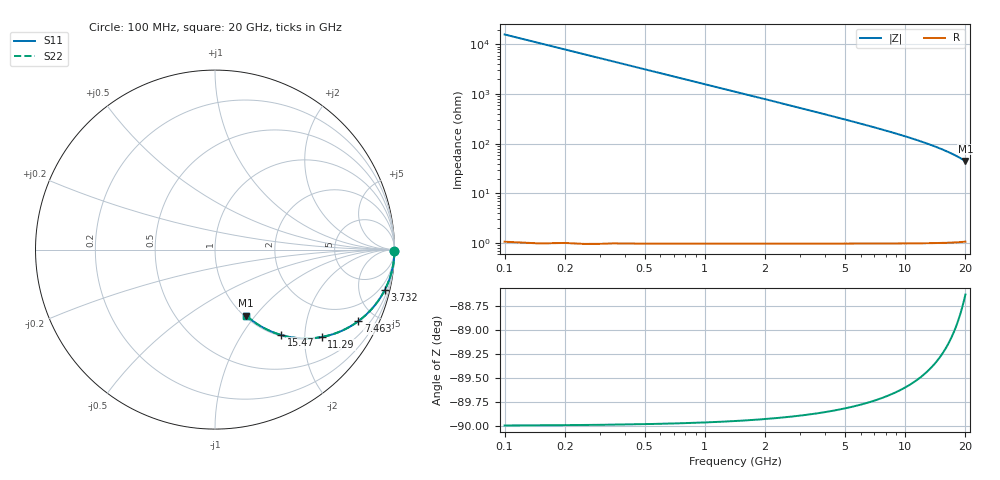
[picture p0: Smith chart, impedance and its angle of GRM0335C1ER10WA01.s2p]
!Murata Part Number: GRM0335C1ER10WA01
!These Parameters are Measured in Series Mode Connection
!Data Generated on Mar 30, 2021
!  o--ll--o
!Port1  Port2
!  o------o
!Operation Temp=25[degC], DC Bias Voltage=0[V]
!Freq. Start=100[MHz] Stop=20[GHz] 401[Steps]
# Hz S RI R 50
!Freq.(Hz) S11(Real) S11(Imag) S21(Real) S21(Imag) S12(Real) S12(Imag) S22(Real) S22(Imag)
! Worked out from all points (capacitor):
!   401 points, 100 MHz to 20 GHz, reference 50 ohm
!   read as one part in series: C = 100 fF near 199.5 MHz
!   lowest |Z| = 45 ohm at 20 GHz (marker M1)
!   S11 on the Smith chart (normalised r, x): 100 MHz: open; 3.732 GHz: 1.02, -8.40; 7.463 GHz: 1.02, -4.01; 11.29 GHz: 1.02, -2.43; 15.47 GHz: 1.02, -1.52; 20 GHz: 1.02, -0.90
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1e8  1 -0.00628  3.99e-05 0.00628  3.99e-05 0.00628  1 -0.00628
1.4975e8  0.9999 -0.00941  8.94e-05 0.00941  8.94e-05 0.00941  0.9999 -0.00941
2.4925e8  0.9998 -0.0157  0.000248 0.0157  0.000248 0.0157  0.9998 -0.0157
2.99e8  0.9996 -0.0188  0.000356 0.0188  0.000356 0.0188  0.9996 -0.0188
4.4825e8  0.9992 -0.0281  0.000801 0.0281  0.000801 0.0281  0.9992 -0.0281
5.4775e8  0.9988 -0.0344  0.0012 0.0344  0.0012 0.0344  0.9988 -0.0344
6.97e8  0.9981 -0.0437  0.00193 0.0437  0.00193 0.0437  0.9981 -0.0437
9.955e8  0.9961 -0.0624  0.00394 0.0624  0.00394 0.0624  0.9961 -0.0624
1.44325e9  0.9917 -0.0901  0.00827 0.0901  0.00827 0.0901  0.9917 -0.0901
1.9905e9  0.9843 -0.1236  0.0157 0.1236  0.0157 0.1236  0.9843 -0.1236
2.63725e9  0.9726 -0.1623  0.0274 0.1623  0.0274 0.1623  0.9726 -0.1623
3.43325e9  0.954 -0.2084  0.046 0.2084  0.046 0.2084  0.954 -0.2084
3.73175e9  0.9459 -0.2251  0.0541 0.2251  0.0541 0.2251  0.9459 -0.2251
5.12475e9  0.9002 -0.2981  0.0998 0.2981  0.0998 0.2981  0.9002 -0.2981
6.7665e9  0.8321 -0.3716  0.1679 0.3716  0.1679 0.3716  0.8321 -0.3716
7.463e9  0.7994 -0.398  0.2006 0.398  0.2006 0.398  0.7994 -0.398
1.005e10  0.6642 -0.4688  0.3358 0.4688  0.3358 0.4688  0.6642 -0.4688
1.129375e10  0.595 -0.4868  0.405 0.4868  0.405 0.4868  0.595 -0.4868
1.338325e10  0.4787 -0.4944  0.5213 0.4944  0.5213 0.4944  0.4787 -0.4944
1.547275e10  0.3684 -0.4758  0.6316 0.4758  0.6316 0.4758  0.3684 -0.4758
1.67165e10  0.308 -0.454  0.692 0.454  0.692 0.454  0.308 -0.454
2e10  0.1739 -0.3673  0.8261 0.3673  0.8261 0.3673  0.1739 -0.3673
